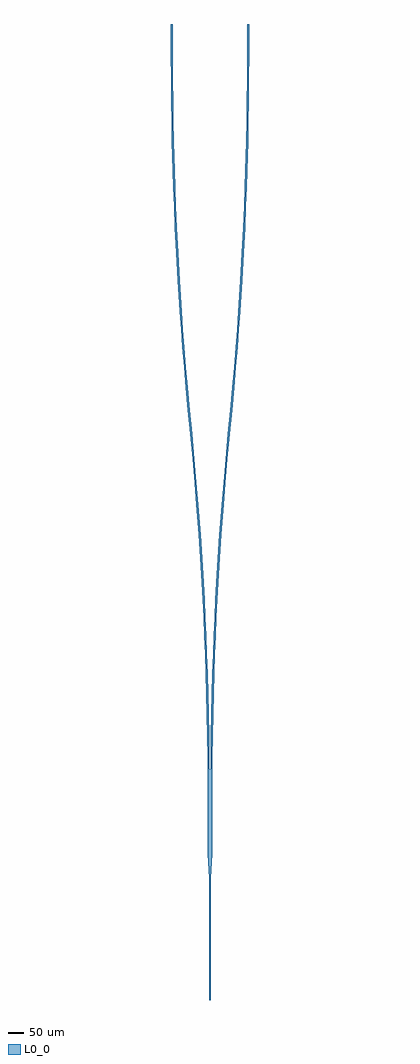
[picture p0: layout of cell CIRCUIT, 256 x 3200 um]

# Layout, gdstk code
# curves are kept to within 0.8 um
import gdstk
lib = gdstk.Library(unit=1e-6, precision=1e-09)
def R(c, l, rs):  # rectangles x0, y0, x1, y1
    for r in rs: c.add(gdstk.rectangle(r[:2], r[2:], *l))
def P(c, l, *ps):  # polygons
    for p in ps: c.add(gdstk.Polygon(p, *l))
L0_0 = (0, 0)

circuit = lib.new_cell('CIRCUIT')
R(circuit, L0_0, [(-2.999,0,3,200), (-2.999,200,3,400), (-7.499,480,7.5,590), (-127.999,3100,-121.999,3200), (122,3100,128,3200)])
P(circuit, L0_0, [(-2.999,400),(-7.499,480),(7.5,480),(3,400)],
  [(-7.699,590),(-7.199,670),(-1.199,670),(-0.699,590)],
  [(0.7,590),(1.2,670),(7.2,670),(7.7,590)],
  [(-7.199,670),(-7.837,794.98),(-10.105,936.793),(-13.729,1069.881),(-21.146,1254.319),(-30.307,1422.001),(-44.384,1623.66),(-57.022,1773.601),(-85.086,2075.388),(-94.863,2199.462),(-105.512,2357.98),(-114.822,2531.891),(-122.087,2719.411),(-126.129,2885.919),(-127.999,3100),(-121.999,3100),(-120.128,2885.919),(-116.084,2719.411),(-108.816,2531.891),(-99.501,2357.98),(-88.847,2199.462),(-79.065,2075.388),(-50.997,1773.601),(-38.366,1623.66),(-24.296,1422.001),(-15.139,1254.319),(-7.726,1069.881),(-2.783,867.012),(-1.199,670)],
  [(1.2,670),(2.784,867.012),(5.764,1004.393),(9.962,1133.322),(18.029,1311.997),(27.634,1474.438),(38.367,1623.66),(50.998,1773.601),(79.066,2075.388),(88.848,2199.462),(99.502,2357.98),(108.817,2531.891),(116.085,2719.411),(120.129,2885.919),(122,3100),(128,3100),(126.948,2939.439),(124.675,2814.558),(117.913,2602.904),(110.787,2450.732),(102.411,2308.512),(90.292,2139.426),(79.163,2007.081),(51.942,1715.931),(37.097,1525.237),(30.308,1422.001),(21.147,1254.319),(13.73,1069.881),(8.785,867.012),(7.2,670)])

lib.write_gds('CIRCUIT.gds')
